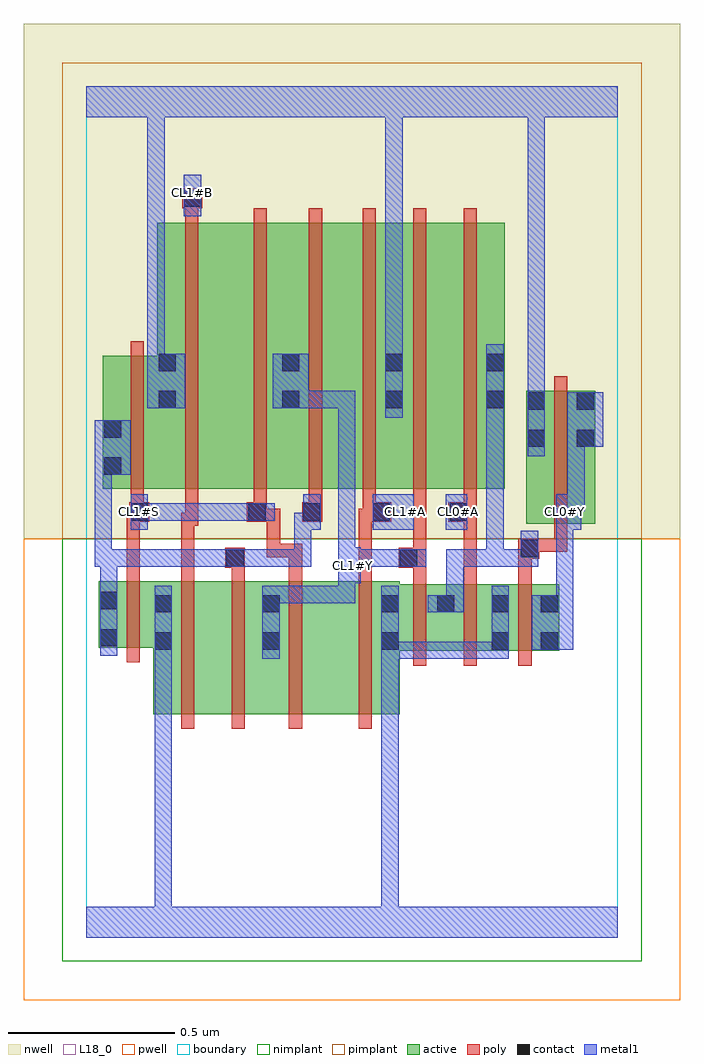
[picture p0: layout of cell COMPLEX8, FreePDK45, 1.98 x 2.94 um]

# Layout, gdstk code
import gdstk
lib = gdstk.Library(unit=1e-6, precision=1e-09)
def R(c, l, rs):  # rectangles x0, y0, x1, y1
    for r in rs: c.add(gdstk.rectangle(r[:2], r[2:], *l))
def A(c, l, x, y, w, h, nx, ny, dx, dy):  # array of equal rectangles
    R(c, l, [(x+i*dx, y+j*dy, x+i*dx+w, y+j*dy+h) for i in range(nx) for j in range(ny)])
active = (1, 0)
pwell = (2, 0)
nwell = (3, 0)
nimplant = (4, 0)
pimplant = (5, 0)
poly = (9, 0)
contact = (10, 0)
metal1 = (11, 0)
L18_0 = (18, 0)
boundary = (235, 0)

complex8 = lib.new_cell('COMPLEX8')
R(complex8, active, [(0.202,0.672,0.382,1.072), (0.382,0.672,0.586,1.072), (0.526,0.672,0.75,1.072), (0.75,0.672,0.944,1.072), (0.884,0.672,0.944,1.034), (0.526,0.756,0.586,1.034), (0.202,0.862,0.262,1.034), (0.884,0.862,1.112,1.062), (1.052,0.862,1.112,1.062), (1.052,0.862,1.276,1.062), (1.216,0.862,1.424,1.062), (1.216,0.862,1.276,1.034), (1.364,0.862,1.424,1.062), (0.038,0.872,0.098,1.072), (0.038,0.872,0.262,1.072), (1.324,1.244,1.384,1.644), (1.324,1.244,1.532,1.644), (1.472,1.244,1.532,1.644), (0.05,1.35,0.274,1.75), (0.05,1.35,0.11,1.75), (0.214,1.35,0.448,2.15), (0.448,1.35,0.646,2.15), (0.586,1.35,0.646,2.044), (0.586,1.35,0.766,2.15), (0.766,1.35,0.956,2.15), (0.896,1.35,1.08,2.15), (1.08,1.35,1.26,2.15), (1.2,1.35,1.26,2.044), (0.214,1.37,0.274,2.132), (0.896,1.37,0.956,2.044)])
R(complex8, pwell, [(-0.188,-0.188,1.788,1.2)])
R(complex8, nwell, [(-0.188,1.2,1.788,2.748)])
R(complex8, nimplant, [(-0.072,-0.072,1.672,1.2)])
R(complex8, pimplant, [(-0.072,1.2,1.672,2.632)])
A(complex8, poly, 0.832, 1.306, 0.04, 0.888, 3, 1, 0.152, 0)
R(complex8, poly, [(0.286,0.628,0.326,1.116), (0.438,0.628,0.478,1.116), (0.61,0.628,0.65,1.116), (0.82,0.628,0.86,1.116), (0.984,0.818,1.024,1.106), (1.136,0.818,1.176,1.106), (1.3,0.818,1.34,1.106), (0.122,0.828,0.162,1.116), (0.984,1.066,1.024,1.152), (1.136,1.066,1.176,1.29), (1.3,1.066,1.34,1.18), (0.122,1.076,0.162,1.29), (0.286,1.076,0.326,1.278), (0.438,1.076,0.478,1.152), (0.61,1.076,0.65,1.184), (0.82,1.076,0.86,1.29), (0.418,1.112,0.478,1.172), (0.94,1.112,1.024,1.172), (0.984,1.132,1.024,1.172), (0.984,1.132,1.024,1.172), (0.984,1.132,1.024,1.346), (1.3,1.14,1.364,1.2), (0.544,1.144,0.584,1.184), (0.544,1.144,0.65,1.184), (0.544,1.144,0.584,1.29), (0.61,1.144,0.65,1.184), (1.324,1.16,1.364,1.2), (1.324,1.16,1.448,1.2), (1.408,1.16,1.448,1.24), (1.408,1.2,1.448,1.688), (0.286,1.238,0.338,1.278), (0.298,1.238,0.338,1.278), (0.298,1.238,0.338,1.278), (0.298,1.238,0.338,1.346), (0.122,1.25,0.17,1.29), (0.13,1.25,0.17,1.29), (0.13,1.25,0.19,1.31), (0.484,1.25,0.544,1.31), (0.504,1.25,0.584,1.29), (0.544,1.25,0.584,1.29), (0.65,1.25,0.71,1.31), (0.82,1.25,0.872,1.29), (0.832,1.25,0.872,1.29), (0.832,1.25,0.918,1.31), (1.09,1.25,1.176,1.31), (1.136,1.25,1.176,1.29), (1.136,1.25,1.176,1.29), (0.134,1.27,0.174,1.346), (0.504,1.27,0.544,1.346), (0.67,1.27,0.71,1.346), (0.832,1.27,0.872,1.346), (1.136,1.27,1.176,1.346), (0.134,1.306,0.174,1.794), (0.298,1.306,0.338,2.194), (0.504,1.306,0.544,2.194), (0.67,1.306,0.71,2.194), (0.298,2.154,0.338,2.234), (0.29,2.194,0.35,2.254)])
R(complex8, contact, [(0.206,0.866,0.258,0.918), (0.53,0.866,0.582,0.918), (0.888,0.866,0.94,0.918), (1.22,0.866,1.272,0.918), (1.368,0.866,1.42,0.918), (0.042,0.876,0.094,0.928), (0.206,0.978,0.258,1.03), (0.53,0.978,0.582,1.03), (0.888,0.978,0.94,1.03), (1.056,0.978,1.108,1.03), (1.22,0.978,1.272,1.03), (1.368,0.978,1.42,1.03), (0.042,0.988,0.094,1.04), (0.422,1.116,0.474,1.168), (0.944,1.116,0.996,1.168), (1.308,1.144,1.36,1.196), (0.134,1.254,0.186,1.306), (0.488,1.254,0.54,1.306), (0.654,1.254,0.706,1.306), (0.862,1.254,0.914,1.306), (1.094,1.254,1.146,1.306), (0.054,1.392,0.106,1.444), (1.328,1.476,1.38,1.528), (1.476,1.476,1.528,1.528), (0.054,1.504,0.106,1.556), (1.328,1.588,1.38,1.64), (1.476,1.588,1.528,1.64), (0.218,1.592,0.27,1.644), (0.59,1.592,0.642,1.644), (0.9,1.592,0.952,1.644), (1.204,1.592,1.256,1.644), (0.218,1.704,0.27,1.756), (0.59,1.704,0.642,1.756), (0.9,1.704,0.952,1.756), (1.204,1.704,1.256,1.756), (0.294,2.198,0.346,2.25)])
R(complex8, metal1, [(0,0,1.6,0.092), (0.206,0.04,0.258,0.092), (0.206,0.04,0.258,0.092), (0.206,0.04,0.258,0.092), (0.206,0.04,0.258,0.092), (0.206,0.04,0.258,0.092), (0.206,0.04,0.258,0.092), (0.206,0.04,0.258,0.092), (0.206,0.04,0.258,0.092), (0.206,0.04,0.258,0.89), (0.888,0.04,0.94,0.092), (0.888,0.04,0.94,0.092), (0.888,0.04,0.94,0.89), (0.206,0.838,0.258,0.89), (0.206,0.838,0.258,0.89), (0.206,0.838,0.258,0.89), (0.206,0.838,0.258,0.89), (0.206,0.838,0.258,1.058), (0.53,0.838,0.582,1.058), (0.888,0.838,0.94,0.89), (0.888,0.838,0.94,0.89), (0.888,0.838,0.94,0.89), (0.888,0.838,0.94,0.89), (0.888,0.838,0.94,0.89), (0.888,0.838,0.94,0.89), (0.888,0.838,0.94,0.89), (0.888,0.838,0.94,0.89), (0.888,0.838,0.94,0.89), (0.888,0.838,0.94,0.89), (0.888,0.838,0.94,0.89), (0.888,0.838,0.94,0.89), (0.888,0.838,0.94,1.058), (0.888,0.838,1.146,0.89), (1.094,0.838,1.146,0.89), (1.094,0.838,1.146,0.89), (1.094,0.838,1.146,0.89), (1.094,0.838,1.146,0.89), (1.094,0.838,1.146,0.89), (1.094,0.838,1.146,0.89), (1.094,0.838,1.146,0.89), (1.094,0.838,1.272,0.89), (1.22,0.838,1.272,1.058), (0.042,0.848,0.094,1.068), (1.34,0.866,1.466,1.03), (1.028,0.978,1.136,1.03), (1.084,0.978,1.136,1.168), (1.414,0.978,1.466,1.278), (0.53,1.006,0.716,1.058), (0.664,1.006,0.716,1.058), (0.664,1.006,0.81,1.058), (0.758,1.006,0.81,1.058), (0.758,1.006,0.81,1.118), (0.042,1.016,0.094,1.168), (0.758,1.066,0.826,1.174), (0.026,1.116,0.078,1.444), (0.026,1.116,0.094,1.168), (0.042,1.116,0.094,1.168), (0.042,1.116,0.094,1.168), (0.042,1.116,0.296,1.168), (0.244,1.116,0.296,1.168), (0.244,1.116,0.296,1.168), (0.244,1.116,0.296,1.168), (0.244,1.116,0.446,1.168), (0.394,1.116,0.446,1.168), (0.394,1.116,0.446,1.168), (0.394,1.116,0.502,1.168), (0.45,1.116,0.678,1.168), (0.626,1.116,0.678,1.168), (0.626,1.116,0.678,1.278), (0.774,1.116,0.826,1.168), (0.774,1.116,0.826,1.168), (0.774,1.116,0.968,1.168), (0.916,1.116,0.968,1.168), (0.916,1.116,0.968,1.168), (0.916,1.116,1.024,1.168), (1.084,1.116,1.136,1.168), (1.084,1.116,1.136,1.168), (1.084,1.116,1.136,1.168), (1.084,1.116,1.256,1.168), (1.204,1.116,1.256,1.168), (1.204,1.116,1.256,1.168), (1.204,1.116,1.256,1.168), (1.204,1.116,1.36,1.168), (1.204,1.116,1.256,1.616), (1.308,1.116,1.36,1.224), (0.758,1.122,0.81,1.174), (0.758,1.122,0.81,1.174), (0.758,1.122,0.81,1.644), (0.134,1.226,0.186,1.334), (0.626,1.226,0.678,1.278), (0.626,1.226,0.706,1.278), (0.654,1.226,0.706,1.334), (0.862,1.226,0.986,1.334), (1.082,1.226,1.146,1.334), (1.414,1.226,1.49,1.334), (0.134,1.254,0.296,1.306), (0.244,1.254,0.296,1.306), (0.244,1.254,0.296,1.306), (0.244,1.254,0.296,1.306), (0.244,1.254,0.406,1.306), (0.354,1.254,0.406,1.306), (0.354,1.254,0.512,1.306), (0.46,1.254,0.568,1.306), (1.438,1.282,1.49,1.334), (1.438,1.282,1.5,1.334), (1.448,1.282,1.5,1.528), (0.026,1.392,0.134,1.556), (0.026,1.392,0.078,1.444), (0.026,1.392,0.078,1.444), (1.328,1.448,1.38,1.668), (1.448,1.476,1.556,1.64), (0.9,1.564,0.952,1.784), (1.204,1.564,1.256,1.616), (1.204,1.564,1.256,1.616), (1.204,1.564,1.256,1.784), (0.184,1.592,0.298,1.756), (0.562,1.592,0.67,1.756), (0.618,1.592,0.678,1.644), (0.626,1.592,0.678,1.644), (0.626,1.592,0.81,1.644), (0.758,1.592,0.81,1.644), (1.328,1.616,1.38,2.52), (0.184,1.704,0.236,2.52), (0.9,1.732,0.952,1.784), (0.9,1.732,0.952,1.784), (0.9,1.732,0.952,2.52), (0.294,2.17,0.346,2.294), (0,2.468,1.6,2.56), (0.184,2.468,0.236,2.52), (0.184,2.468,0.236,2.52), (0.184,2.468,0.236,2.52), (0.184,2.468,0.236,2.52), (0.184,2.468,0.236,2.52), (0.184,2.468,0.236,2.52), (0.184,2.468,0.236,2.52), (0.184,2.468,0.236,2.52), (0.9,2.468,0.952,2.52), (0.9,2.468,0.952,2.52), (0.9,2.468,0.952,2.52), (0.9,2.468,0.952,2.52), (0.9,2.468,0.952,2.52), (0.9,2.468,0.952,2.52), (1.328,2.468,1.38,2.52), (1.328,2.468,1.38,2.52), (1.328,2.468,1.38,2.52), (1.328,2.468,1.38,2.52), (1.328,2.468,1.38,2.52), (1.328,2.468,1.38,2.52), (1.328,2.468,1.38,2.52), (1.328,2.468,1.38,2.52), (1.328,2.468,1.38,2.52), (1.328,2.468,1.38,2.52), (1.328,2.468,1.38,2.52), (1.328,2.468,1.38,2.52), (1.328,2.468,1.38,2.52), (1.328,2.468,1.38,2.52), (1.328,2.468,1.38,2.52), (1.328,2.468,1.38,2.52)])
R(complex8, L18_0, [(0,0,1.6,0.092), (0.206,0.04,0.258,0.092), (0.206,0.04,0.258,0.092), (0.206,0.04,0.258,0.092), (0.206,0.04,0.258,0.092), (0.206,0.04,0.258,0.092), (0.206,0.04,0.258,0.092), (0.206,0.04,0.258,0.092), (0.206,0.04,0.258,0.092), (0.206,0.04,0.258,0.89), (0.888,0.04,0.94,0.092), (0.888,0.04,0.94,0.092), (0.888,0.04,0.94,0.89), (0.206,0.838,0.258,0.89), (0.206,0.838,0.258,0.89), (0.206,0.838,0.258,0.89), (0.206,0.838,0.258,0.89), (0.206,0.838,0.258,1.058), (0.53,0.838,0.582,1.058), (0.888,0.838,0.94,0.89), (0.888,0.838,0.94,0.89), (0.888,0.838,0.94,0.89), (0.888,0.838,0.94,0.89), (0.888,0.838,0.94,0.89), (0.888,0.838,0.94,0.89), (0.888,0.838,0.94,0.89), (0.888,0.838,0.94,0.89), (0.888,0.838,0.94,0.89), (0.888,0.838,0.94,0.89), (0.888,0.838,0.94,0.89), (0.888,0.838,0.94,0.89), (0.888,0.838,0.94,1.058), (0.888,0.838,1.146,0.89), (1.094,0.838,1.146,0.89), (1.094,0.838,1.146,0.89), (1.094,0.838,1.146,0.89), (1.094,0.838,1.146,0.89), (1.094,0.838,1.146,0.89), (1.094,0.838,1.146,0.89), (1.094,0.838,1.146,0.89), (1.094,0.838,1.272,0.89), (1.22,0.838,1.272,1.058), (1.34,0.866,1.466,1.03), (1.414,0.978,1.466,1.278), (0.53,1.006,0.716,1.058), (0.664,1.006,0.716,1.058), (0.664,1.006,0.81,1.058), (0.758,1.006,0.81,1.058), (0.758,1.006,0.81,1.118), (0.758,1.066,0.826,1.174), (0.774,1.094,0.826,1.146), (0.774,1.116,0.826,1.168), (0.774,1.116,0.826,1.168), (0.774,1.116,0.968,1.168), (0.916,1.116,0.968,1.168), (0.916,1.116,0.968,1.168), (0.916,1.116,1.024,1.168), (0.758,1.122,0.81,1.174), (0.758,1.122,0.81,1.174), (0.758,1.122,0.81,1.644), (0.134,1.226,0.186,1.334), (0.862,1.226,0.986,1.334), (1.082,1.226,1.146,1.334), (1.414,1.226,1.49,1.334), (0.134,1.254,0.186,1.306), (0.134,1.254,0.296,1.306), (0.244,1.254,0.296,1.306), (0.244,1.254,0.296,1.306), (0.244,1.254,0.296,1.306), (0.244,1.254,0.406,1.306), (0.354,1.254,0.406,1.306), (0.354,1.254,0.512,1.306), (0.46,1.254,0.568,1.306), (0.934,1.254,0.986,1.306), (1.094,1.254,1.146,1.306), (1.414,1.254,1.466,1.306), (1.438,1.282,1.49,1.334), (1.438,1.282,1.5,1.334), (1.448,1.282,1.5,1.528), (1.328,1.448,1.38,1.668), (1.448,1.476,1.556,1.64), (0.9,1.564,0.952,1.784), (0.184,1.592,0.298,1.756), (0.562,1.592,0.67,1.756), (0.618,1.592,0.678,1.644), (0.626,1.592,0.678,1.644), (0.626,1.592,0.81,1.644), (0.758,1.592,0.81,1.644), (1.328,1.616,1.38,2.52), (0.184,1.704,0.236,2.52), (0.9,1.732,0.952,1.784), (0.9,1.732,0.952,1.784), (0.9,1.732,0.952,2.52), (0.294,2.17,0.346,2.294), (0.294,2.214,0.346,2.266), (0,2.468,1.6,2.56), (0.184,2.468,0.236,2.52), (0.184,2.468,0.236,2.52), (0.184,2.468,0.236,2.52), (0.184,2.468,0.236,2.52), (0.184,2.468,0.236,2.52), (0.184,2.468,0.236,2.52), (0.184,2.468,0.236,2.52), (0.184,2.468,0.236,2.52), (0.9,2.468,0.952,2.52), (0.9,2.468,0.952,2.52), (0.9,2.468,0.952,2.52), (0.9,2.468,0.952,2.52), (0.9,2.468,0.952,2.52), (0.9,2.468,0.952,2.52), (1.328,2.468,1.38,2.52), (1.328,2.468,1.38,2.52), (1.328,2.468,1.38,2.52), (1.328,2.468,1.38,2.52), (1.328,2.468,1.38,2.52), (1.328,2.468,1.38,2.52), (1.328,2.468,1.38,2.52), (1.328,2.468,1.38,2.52), (1.328,2.468,1.38,2.52), (1.328,2.468,1.38,2.52), (1.328,2.468,1.38,2.52), (1.328,2.468,1.38,2.52), (1.328,2.468,1.38,2.52), (1.328,2.468,1.38,2.52), (1.328,2.468,1.38,2.52), (1.328,2.468,1.38,2.52)])
R(complex8, boundary, [(0,0,1.6,2.56)])
complex8.add(gdstk.Label('CL0#A', (1.12,1.28), layer=11, texttype=0))
complex8.add(gdstk.Label('CL0#Y', (1.44,1.28), layer=11, texttype=0))
complex8.add(gdstk.Label('CL1#A', (0.96,1.28), layer=11, texttype=0))
complex8.add(gdstk.Label('CL1#B', (0.32,2.24), layer=11, texttype=0))
complex8.add(gdstk.Label('CL1#S', (0.16,1.28), layer=11, texttype=0))
complex8.add(gdstk.Label('CL1#Y', (0.8,1.12), layer=11, texttype=0))

lib.write_gds('COMPLEX8.gds')
